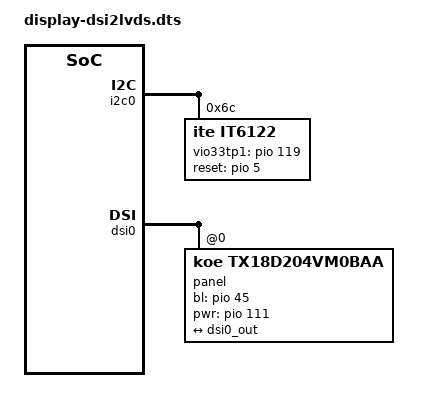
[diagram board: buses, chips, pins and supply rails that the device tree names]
/dts-v1/;
/plugin/;

#include <dt-bindings/pinctrl/mediatek,mt8188-pinfunc.h>
#include <dt-bindings/gpio/gpio.h>

/ {
	fragment@0 {
		target = <&i2c0>;
		__overlay__ {
			touchscreen@5d {
				status = "disabled";
			};
			
			it6122: it6122@6c {
				compatible = "ite,it6122";
				reg = <0x6c>;
				pinctrl-names = "default";
				pinctrl-0 = <&it6122_pins_default>;
				vio33tp1-gpio = <&pio 119 GPIO_ACTIVE_HIGH>;
				ite,reset-gpio = <&pio 5 GPIO_ACTIVE_HIGH>;
			};
		};
	};
	
	fragment@1 {
		target = <&dsi0>;
		__overlay__ {
			panel@0 {
				status = "disabled";
			};
			
			panel@1 {
				compatible = "koe,tx18d204vm0baa";
				status = "okay";
				reg = <0>;
				pinctrl-names = "default";
				pinctrl-0 = <&panel_pins_default>;
				bl-gpios = <&pio 45 GPIO_ACTIVE_HIGH>;
				pwr-gpios = <&pio 111 GPIO_ACTIVE_HIGH>;
				mediatek,it6122-attached;
				port {
					panel0_in: endpoint {
						remote-endpoint = <&dsi0_out>;
					};
				};
			};
		};
	};

	fragment@2 {
		target = <&lcm1_tp_avdd>;
		__overlay__ {
			status = "disabled";
		};
	};
	
	fragment@3 {
		target = <&pio>;
		__overlay__ {
			it6122_pins_default: it6122_pins_default {
				pins-cmd-dat {
					pinmux = <PINMUX_GPIO119__FUNC_B_GPIO119>,
					<PINMUX_GPIO5__FUNC_B_GPIO5>;
					output-high;
				};
			};
		};
	};

	fragment@4 {
		target = <&dpi1>;
		__overlay__ {
			status = "disabled";
		};
	};

	fragment@5 {
		target = <&hdmi0>;
		__overlay__ {
			status = "disabled";
		};
	};

	fragment@6 {
		target = <&hdmi_phy>;
		__overlay__ {
			status = "disabled";
		};
	};

	fragment@7 {
		target = <&sound>;
		__overlay__ {
			dai-link-1 { /* HDMI */
				status = "disabled";
			};

			dai-link-2 { /* DPTX */
				status = "disabled";
			};
		};
	};
};
